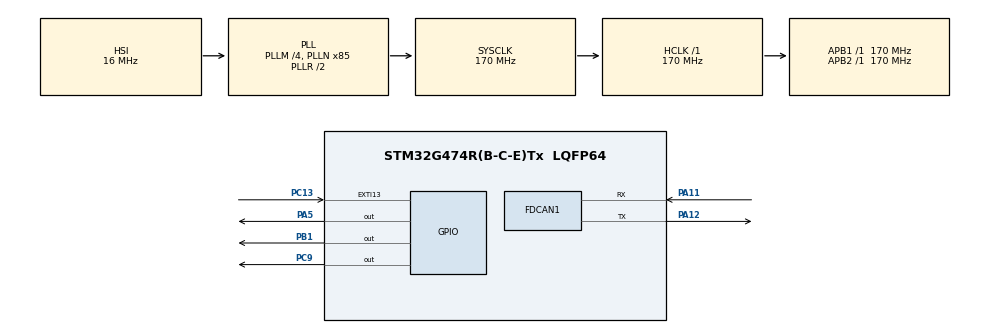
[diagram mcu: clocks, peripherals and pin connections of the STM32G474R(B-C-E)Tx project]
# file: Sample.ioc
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FDCAN1.CalculateBaudRateNominal=249999
FDCAN1.CalculateTimeBitNominal=4000
FDCAN1.CalculateTimeQuantumNominal=235.29411764705884
FDCAN1.NominalPrescaler=40
FDCAN1.NominalTimeSeg1=14
FDCAN1.NominalTimeSeg2=2
Mcu.Family=STM32G4
Mcu.Name=STM32G474R(B-C-E)Tx
Mcu.Package=LQFP64
NUCLEO-G474RE.BUTTON=1
NUCLEO-G474RE.LD2=true
NUCLEO-G474RE.VCP=true
NVIC.EXTI15_10_IRQn=true\:0\:0\:false\:false\:true\:true\:true\:true
NVIC.FDCAN1_IT0_IRQn=true\:0\:0\:false\:false\:true\:true\:true\:true
NVIC.PriorityGroup=NVIC_PRIORITYGROUP_4
PA11.GPIO_Speed=GPIO_SPEED_FREQ_VERY_HIGH
PA11.Mode=FDCAN_Activate
PA11.Signal=FDCAN1_RX
PA12.GPIO_Speed=GPIO_SPEED_FREQ_VERY_HIGH
PA12.Mode=FDCAN_Activate
PA12.Signal=FDCAN1_TX
PA13.GPIO_Label=T_SWDIO
PA13.Signal=SYS_JTMS-SWDIO
PA14.GPIO_Label=T_SWCLK
PA14.Signal=SYS_JTCK-SWCLK
PA2.Signal=LPUART1_TX
PA3.Signal=LPUART1_RX
PA5.Signal=GPIO_Output
PB1.Signal=GPIO_Output
PB3.GPIO_Label=T_SWO
PB3.Signal=SYS_JTDO-SWO
PC13.Signal=GPXTI13
PC14-OSC32_IN.GPIO_Label=RCC_OSC32_IN
PC14-OSC32_IN.Signal=RCC_OSC32_IN
PC15-OSC32_OUT.GPIO_Label=RCC_OSC32_OUT
PC15-OSC32_OUT.Signal=RCC_OSC32_OUT
PC9.Signal=GPIO_Output
PF0-OSC_IN.GPIO_Label=RCC_OSC_IN
PF0-OSC_IN.Signal=RCC_OSC_IN
PF1-OSC_OUT.GPIO_Label=RCC_OSC_OUT
PF1-OSC_OUT.Signal=RCC_OSC_OUT
ProjectManager.HeapSize=0x200
ProjectManager.StackSize=0x400
ProjectManager.TargetToolchain=STM32CubeIDE
RCC.ADC12Freq_Value=170000000
RCC.ADC345Freq_Value=170000000
RCC.AHBFreq_Value=170000000
RCC.APB1Freq_Value=170000000
RCC.APB1TimFreq_Value=170000000
RCC.APB2Freq_Value=170000000
RCC.APB2TimFreq_Value=170000000
RCC.CortexFreq_Value=170000000
RCC.EXTERNAL_CLOCK_VALUE=12288000
RCC.HCLKFreq_Value=170000000
RCC.HSE_VALUE=24000000
RCC.HSI48_VALUE=48000000
RCC.HSI_VALUE=16000000
RCC.LSE_VALUE=32768
RCC.PLLM=RCC_PLLM_DIV4
RCC.PLLN=85
RCC.RTCClockSelection=RCC_RTCCLKSOURCE_LSE
RCC.SYSCLKFreq_VALUE=170000000
RCC.SYSCLKSource=RCC_SYSCLKSOURCE_PLLCLK
RCC.USBFreq_Value=170000000
RCC.VCOOutputFreq_Value=340000000
VP_NUCLEO-G474RE_VS_BSP_COMMON.Mode=COMMON
VP_SYS_VS_DBSignals.Mode=DisableDeadBatterySignals
VP_TIM3_VS_ClockSourceINT.Mode=Internal
board=NUCLEO-G474RE

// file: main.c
/* USER CODE BEGIN Header */
/**
  ******************************************************************************
  * @file           : main.c
  * @brief          : Main program body
  ******************************************************************************
  * @attention
  *
  * Copyright (c) 2025 STMicroelectronics.
  * All rights reserved.
  *
  * This software is licensed under terms that can be found in the LICENSE file
  * in the root directory of this software component.
  * If no LICENSE file comes with this software, it is provided AS-IS.
  *
  ******************************************************************************
  */
/* USER CODE END Header */
#include "main.h"

COM_InitTypeDef BspCOMInit;
FDCAN_HandleTypeDef hfdcan1;

TIM_HandleTypeDef htim3;

void SystemClock_Config(void);
static void MX_GPIO_Init(void);
static void MX_FDCAN1_Init(void);
static void MX_TIM3_Init(void);

/* USER CODE BEGIN 0 */

void HAL_CAN_RxFifo0CallBack(FDCAN_HandleTypeDef *hcan, uint32_t RxFifo0ITs);
void HAL_TIM_PeriodElapsedCallback(TIM_HandleTypeDef *htim);
void delay(int delay);
FDCAN_RxHeaderTypeDef RxHeader;
uint8_t RxData[8];
volatile int datacheck = 0;
volatile int counter = 0;

/* USER CODE END 0 */

int main(void)
{

  /* MCU Configuration--------------------------------------------------------*/

  /* Reset of all peripherals, Initializes the Flash interface and the Systick. */
  HAL_Init();

  /* Configure the system clock */
  SystemClock_Config();

  /* Initialize all configured peripherals */
  MX_GPIO_Init();
  MX_FDCAN1_Init();
  MX_TIM3_Init();

  /* Initialize led */
  BSP_LED_Init(LED_GREEN);

  /* Initialize USER push-button, will be used to trigger an interrupt each time it's pressed.*/
  BSP_PB_Init(BUTTON_USER, BUTTON_MODE_EXTI);

  /* Initialize COM1 port (115200, 8 bits (7-bit data + 1 stop bit), no parity */
  BspCOMInit.BaudRate   = 115200;
  BspCOMInit.WordLength = COM_WORDLENGTH_8B;
  BspCOMInit.StopBits   = COM_STOPBITS_1;
  BspCOMInit.Parity     = COM_PARITY_NONE;
  BspCOMInit.HwFlowCtl  = COM_HWCONTROL_NONE;
  if (BSP_COM_Init(COM1, &BspCOMInit) != BSP_ERROR_NONE)
  {
    Error_Handler();
  }

  /* Infinite loop */
  /* USER CODE BEGIN WHILE */

  /* This code tells the microcontroller to look for FDCAN signals and data. */
  HAL_FDCAN_ConfigGlobalFilter(&hfdcan1,
		  	  	  	  	  	  FDCAN_ACCEPT_IN_RX_FIFO0,
							  FDCAN_ACCEPT_IN_RX_FIFO0,
							  FDCAN_REJECT_REMOTE,
							  FDCAN_REJECT_REMOTE);

  /* This code ensures that FDCAN protocol starts correctly and throws an error if not. */
  if (HAL_FDCAN_Start(&hfdcan1) != HAL_OK) {
      Error_Handler();
  }

  /* This code activates the hardware responsible for calling the callback
   * function everytime the NEW_MESSAGE flag is updated in the hardware.*/
  if (HAL_FDCAN_ActivateNotification(&hfdcan1, FDCAN_IT_RX_FIFO0_NEW_MESSAGE, 0) != HAL_OK) {
  	  	  Error_Handler();
  }

  HAL_TIM_Base_Start_IT(&htim3);

  while (1)
  {
	  HAL_Delay(2);

	  /* Check if FDCAN is working. */
	  if(datacheck) {
		  HAL_GPIO_WritePin(GPIOC, GPIO_PIN_9, 1);
		  printf("%d\n");
		  printf("Hello");
//		  printf("Index 1: %d\n", RxData[1]);
//		  delay(100);
//		  printf("Index 2: %d\n", RxData[2]);
//		  delay(100);
//		  printf("Index 3: %d\n", RxData[3]);
//		  delay(100);
//		  printf("Index 4: %d\n", RxData[4]);
//		  delay(100);
//		  printf("Index 5: %d\n", RxData[5]);
//		  delay(100);
//		  printf("Index 6: %d\n", RxData[6]);
//		  delay(100);
//		  printf("Index 7: %d\n ", RxData[7]);
		  HAL_Delay(500);
	  	  }
	  	  else {
			  HAL_Delay(500);
			  datacheck = 0;
		  }
		  datacheck = 0;
		  HAL_GPIO_WritePin(GPIOC, GPIO_PIN_9, 0);

    /* USER CODE END WHILE */

  }
}

void SystemClock_Config(void)
{
  RCC_OscInitTypeDef RCC_OscInitStruct = {0};
  RCC_ClkInitTypeDef RCC_ClkInitStruct = {0};

  /** Configure the main internal regulator output voltage
  */
  HAL_PWREx_ControlVoltageScaling(PWR_REGULATOR_VOLTAGE_SCALE1_BOOST);

  /** Initializes the RCC Oscillators according to the specified parameters
  * in the RCC_OscInitTypeDef structure.
  */
  RCC_OscInitStruct.OscillatorType = RCC_OSCILLATORTYPE_HSI;
  RCC_OscInitStruct.HSIState = RCC_HSI_ON;
  RCC_OscInitStruct.HSICalibrationValue = RCC_HSICALIBRATION_DEFAULT;
  RCC_OscInitStruct.PLL.PLLState = RCC_PLL_ON;
  RCC_OscInitStruct.PLL.PLLSource = RCC_PLLSOURCE_HSI;
  RCC_OscInitStruct.PLL.PLLM = RCC_PLLM_DIV4;
  RCC_OscInitStruct.PLL.PLLN = 85;
  RCC_OscInitStruct.PLL.PLLP = RCC_PLLP_DIV2;
  RCC_OscInitStruct.PLL.PLLQ = RCC_PLLQ_DIV2;
  RCC_OscInitStruct.PLL.PLLR = RCC_PLLR_DIV2;
  if (HAL_RCC_OscConfig(&RCC_OscInitStruct) != HAL_OK)
  {
    Error_Handler();
  }

  /** Initializes the CPU, AHB and APB buses clocks
  */
  RCC_ClkInitStruct.ClockType = RCC_CLOCKTYPE_HCLK|RCC_CLOCKTYPE_SYSCLK
                              |RCC_CLOCKTYPE_PCLK1|RCC_CLOCKTYPE_PCLK2;
  RCC_ClkInitStruct.SYSCLKSource = RCC_SYSCLKSOURCE_PLLCLK;
  RCC_ClkInitStruct.AHBCLKDivider = RCC_SYSCLK_DIV1;
  RCC_ClkInitStruct.APB1CLKDivider = RCC_HCLK_DIV1;
  RCC_ClkInitStruct.APB2CLKDivider = RCC_HCLK_DIV1;

  if (HAL_RCC_ClockConfig(&RCC_ClkInitStruct, FLASH_LATENCY_4) != HAL_OK)
  {
    Error_Handler();
  }
}

static void MX_FDCAN1_Init(void)
{

  hfdcan1.Instance = FDCAN1;
  hfdcan1.Init.ClockDivider = FDCAN_CLOCK_DIV1;
  hfdcan1.Init.FrameFormat = FDCAN_FRAME_CLASSIC;
  hfdcan1.Init.Mode = FDCAN_MODE_NORMAL;
  hfdcan1.Init.AutoRetransmission = DISABLE;
  hfdcan1.Init.TransmitPause = DISABLE;
  hfdcan1.Init.ProtocolException = DISABLE;
  hfdcan1.Init.NominalPrescaler = 40;
  hfdcan1.Init.NominalSyncJumpWidth = 1;
  hfdcan1.Init.NominalTimeSeg1 = 14;
  hfdcan1.Init.NominalTimeSeg2 = 2;
  hfdcan1.Init.DataPrescaler = 1;
  hfdcan1.Init.DataSyncJumpWidth = 1;
  hfdcan1.Init.DataTimeSeg1 = 1;
  hfdcan1.Init.DataTimeSeg2 = 1;
  hfdcan1.Init.StdFiltersNbr = 0;
  hfdcan1.Init.ExtFiltersNbr = 0;
  hfdcan1.Init.TxFifoQueueMode = FDCAN_TX_FIFO_OPERATION;
  if (HAL_FDCAN_Init(&hfdcan1) != HAL_OK)
  {
    Error_Handler();
  }

}

static void MX_TIM3_Init(void)
{

  TIM_ClockConfigTypeDef sClockSourceConfig = {0};
  TIM_MasterConfigTypeDef sMasterConfig = {0};

  htim3.Instance = TIM3;
  htim3.Init.Prescaler = 0;
  htim3.Init.CounterMode = TIM_COUNTERMODE_UP;
  htim3.Init.Period = 65535;
  htim3.Init.ClockDivision = TIM_CLOCKDIVISION_DIV1;
  htim3.Init.AutoReloadPreload = TIM_AUTORELOAD_PRELOAD_DISABLE;
  if (HAL_TIM_Base_Init(&htim3) != HAL_OK)
  {
    Error_Handler();
  }
  sClockSourceConfig.ClockSource = TIM_CLOCKSOURCE_INTERNAL;
  if (HAL_TIM_ConfigClockSource(&htim3, &sClockSourceConfig) != HAL_OK)
  {
    Error_Handler();
  }
  sMasterConfig.MasterOutputTrigger = TIM_TRGO_RESET;
  sMasterConfig.MasterSlaveMode = TIM_MASTERSLAVEMODE_DISABLE;
  if (HAL_TIMEx_MasterConfigSynchronization(&htim3, &sMasterConfig) != HAL_OK)
  {
    Error_Handler();
  }

}

static void MX_GPIO_Init(void)
{
  GPIO_InitTypeDef GPIO_InitStruct = {0};

  /* GPIO Ports Clock Enable */
  __HAL_RCC_GPIOC_CLK_ENABLE();
  __HAL_RCC_GPIOF_CLK_ENABLE();
  __HAL_RCC_GPIOB_CLK_ENABLE();
  __HAL_RCC_GPIOA_CLK_ENABLE();

  /*Configure GPIO pin Output Level */
  HAL_GPIO_WritePin(GPIOB, GPIO_PIN_1, GPIO_PIN_RESET);

  /*Configure GPIO pin Output Level */
  HAL_GPIO_WritePin(GPIOC, GPIO_PIN_9, GPIO_PIN_RESET);

  /*Configure GPIO pin : PB1 */
  GPIO_InitStruct.Pin = GPIO_PIN_1;
  GPIO_InitStruct.Mode = GPIO_MODE_OUTPUT_PP;
  GPIO_InitStruct.Pull = GPIO_NOPULL;
  GPIO_InitStruct.Speed = GPIO_SPEED_FREQ_LOW;
  HAL_GPIO_Init(GPIOB, &GPIO_InitStruct);

  /*Configure GPIO pin : PC9 */
  GPIO_InitStruct.Pin = GPIO_PIN_9;
  GPIO_InitStruct.Mode = GPIO_MODE_OUTPUT_PP;
  GPIO_InitStruct.Pull = GPIO_NOPULL;
  GPIO_InitStruct.Speed = GPIO_SPEED_FREQ_LOW;
  HAL_GPIO_Init(GPIOC, &GPIO_InitStruct);

}

/* USER CODE BEGIN 4 */

void HAL_FDCAN_RxFifo0Callback(FDCAN_HandleTypeDef *hcan, uint32_t RxFifo0ITs) {

	if(HAL_FDCAN_GetRxMessage(hcan, FDCAN_RX_FIFO0, &RxHeader, RxData) != HAL_OK) {
		Error_Handler();
	}

	if((RxHeader.IdType == FDCAN_STANDARD_ID && RxHeader.Identifier == 0x0AB)) {
		datacheck = 1;
	}
}

/* Code for implementing a delay using TIM3 Global Interrupt*/
void HAL_TIM_PeriodElapsedCallback(TIM_HandleTypeDef *htim) {
	if(htim->Instance == TIM3) {
		counter++;
	}
}

void delay(int delay) {
	int delay_time = counter + delay;
	while(counter < delay_time) {}
}

/* USER CODE END 4 */

void Error_Handler(void)
{
  __disable_irq();
  while (1)
  {
  }
}
